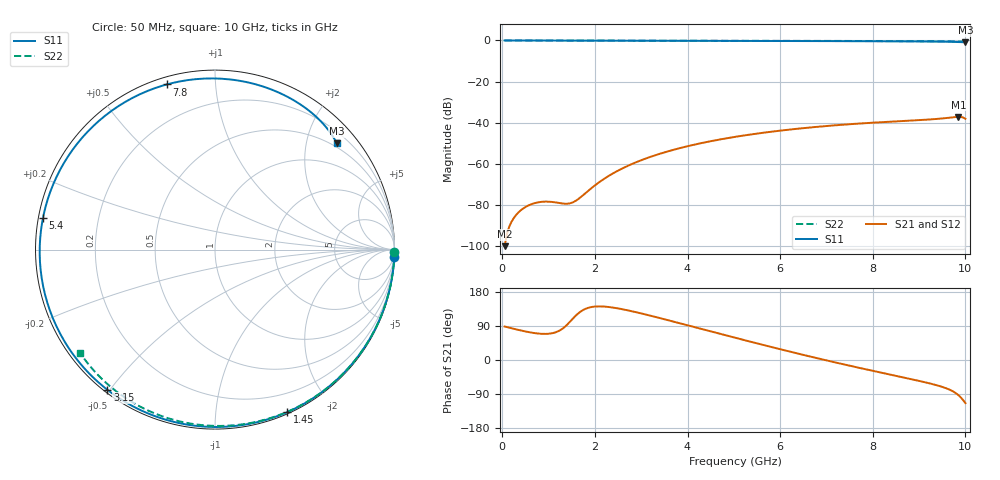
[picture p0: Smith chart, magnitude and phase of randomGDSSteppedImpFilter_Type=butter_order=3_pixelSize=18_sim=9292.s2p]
! freq	dB(S11)	phase(S11)	dB(S12)	phase(S12)
!  dB(S21)	phase(S21)	dB(S22)	phase(S22)
!S-par simulation data
#  GHz  S  DB  R 50
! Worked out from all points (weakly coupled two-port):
!   200 points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, 50 MHz to 10 GHz, reference 50 ohm
!   highest |S21| = -37.15 dB at 9.85 GHz (marker M1); lowest = -100.0 dB at 50 MHz (marker M2)
!   lowest |S11| = -0.9 dB at 10 GHz (marker M3), VSWR 19.20, Z = 20.7 + j130 ohm
!   |S11| at or under -10 dB: nowhere
!   |S22| runs from -0.5 to 0.0 dB; largest |S21 - S12| = 0
!   S11 on the Smith chart (normalised r, x): 50 MHz: 0, -47; 1.45 GHz: 0.02, -1.54; 3.15 GHz: 0.01, -0.49; 5.4 GHz: 0.01, +0.09; 7.8 GHz: 0.03, +0.75; 10 GHz: 0.41, +2.60
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0.05  -0.00 -2.4  -100.02 88.5  -100.02 88.5  -0.00 -0.8
0.35  -0.03 -16.7  -83.58 79.4  -83.58 79.4  -0.01 -5.7
0.65  -0.04 -30.7  -79.45 71.9  -79.45 71.9  -0.01 -10.5
0.95  -0.05 -44.4  -78.36 68.9  -78.36 68.9  -0.02 -15.4
1.45  -0.08 -66.0  -79.25 99.4  -79.25 99.4  -0.03 -23.4
1.6  -0.08 -72.1  -77.76 118.6  -77.76 118.6  -0.03 -25.7
1.75  -0.09 -78.2  -75.13 132.3  -75.13 132.3  -0.04 -28.1
2.05  -0.10 -89.7  -69.62 141.4  -69.62 141.4  -0.04 -32.8
2.35  -0.11 -100.7  -65.16 139.1  -65.16 139.1  -0.05 -37.5
3.15  -0.13 -127.5  -56.99 118.4  -56.99 118.4  -0.07 -49.7
3.4  -0.14 -135.2  -55.11 110.7  -55.11 110.7  -0.07 -53.4
4.2  -0.17 -158.4  -50.39 85.2  -50.39 85.2  -0.09 -65.2
5.05  -0.21 178.7  -46.79 58.0  -46.79 58.0  -0.12 -77.2
5.4  -0.22 169.6  -45.60 47.0  -45.60 47.0  -0.13 -82.1
6.05  -0.26 152.7  -43.72 27.0  -43.72 27.0  -0.16 -90.9
6.7  -0.29 135.8  -42.20 7.6  -42.20 7.6  -0.19 -99.5
7.25  -0.33 121.2  -41.14 -8.1  -41.14 -8.1  -0.22 -106.6
7.8  -0.37 106.2  -40.27 -23.2  -40.27 -23.2  -0.26 -113.7
8.35  -0.41 90.8  -39.54 -37.8  -39.54 -37.8  -0.31 -120.6
9.1  -0.49 68.9  -38.61 -57.9  -38.61 -57.9  -0.37 -130.2
9.85  -0.76 45.7  -37.15 -92.8  -37.15 -92.8  -0.46 -140.3
10  -0.91 41.2  -38.07 -113.8  -38.07 -113.8  -0.49 -142.6
